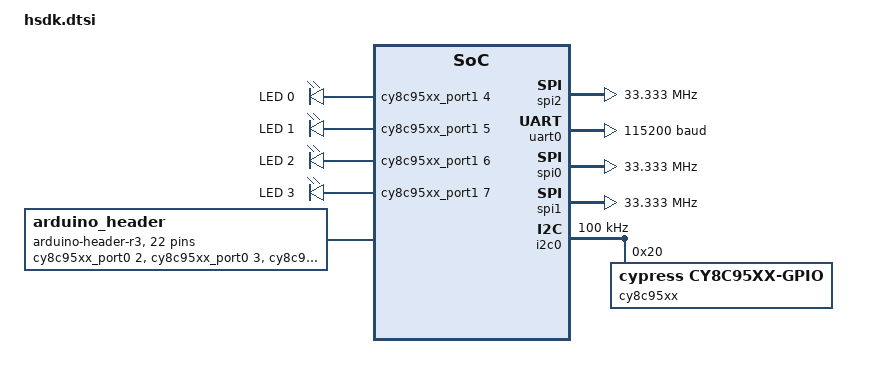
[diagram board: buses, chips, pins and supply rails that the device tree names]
/*
 * Copyright (c) 2019, Synopsys, Inc. All rights reserved.
 *
 * SPDX-License-Identifier: Apache-2.0
 */

/dts-v1/;

#include <synopsys/arc_hsdk.dtsi>
#include <zephyr/dt-bindings/gpio/arduino-header-r3.h>

/ {

	aliases {
		uart-0 = &uart0;
		led0 = &led0;
		led1 = &led1;
		led2 = &led2;
		led3 = &led3;
	};

	leds {
		compatible = "gpio-leds";
		led0: led_0 {
			gpios = <&cy8c95xx_port1 4 GPIO_ACTIVE_HIGH>;
			label = "LED 0";
		};
		led1: led_1 {
			gpios = <&cy8c95xx_port1 5 GPIO_ACTIVE_HIGH>;
			label = "LED 1";
		};
		led2: led_2 {
			gpios = <&cy8c95xx_port1 6 GPIO_ACTIVE_HIGH>;
			label = "LED 2";
		};
		led3: led_3 {
			gpios = <&cy8c95xx_port1 7 GPIO_ACTIVE_HIGH>;
			label = "LED 3";
		};
	};

	chosen {
		zephyr,sram = &ddr0;
		zephyr,console = &uart0;
		zephyr,shell-uart = &uart0;
	};

	arduino_header: connector {
		compatible = "arduino-header-r3";
		#gpio-cells = <2>;
		gpio-map-mask = <0xffffffff 0xffffffc0>;
		gpio-map-pass-thru = <0 0x3f>;
		gpio-map = <ARDUINO_HEADER_R3_A0 0 &cy8c95xx_port0 2 0>,
			   <ARDUINO_HEADER_R3_A1 0 &cy8c95xx_port0 3 0>,
			   <ARDUINO_HEADER_R3_A2 0 &cy8c95xx_port0 4 0>,
			   <ARDUINO_HEADER_R3_A3 0 &cy8c95xx_port0 5 0>,
			   <ARDUINO_HEADER_R3_A4 0 &gpio0 18 0>,
			   <ARDUINO_HEADER_R3_A5 0 &gpio0 19 0>,
			   <ARDUINO_HEADER_R3_D0 0 &gpio0 23 0>,
			   <ARDUINO_HEADER_R3_D1 0 &gpio0 22 0>,
			   <ARDUINO_HEADER_R3_D2 0 &gpio0 16 0>,
			   <ARDUINO_HEADER_R3_D3 0 &gpio0 17 0>,
			   <ARDUINO_HEADER_R3_D4 0 &gpio0 11 0>,
			   <ARDUINO_HEADER_R3_D5 0 &gpio0 9 0>,
			   <ARDUINO_HEADER_R3_D6 0 &gpio0 21 0>,
			   <ARDUINO_HEADER_R3_D7 0 &gpio0 20 0>,
			   <ARDUINO_HEADER_R3_D8 0 &gpio0 10 0>,
			   <ARDUINO_HEADER_R3_D9 0 &gpio0 8 0>,
			   <ARDUINO_HEADER_R3_D10 0 &gpio0 12 0>,
			   <ARDUINO_HEADER_R3_D11 0 &gpio0 13 0>,
			   <ARDUINO_HEADER_R3_D12 0 &gpio0 14 0>,
			   <ARDUINO_HEADER_R3_D13 0 &gpio0 15 0>,
			   <ARDUINO_HEADER_R3_D14 0 &gpio0 18 0>,
			   <ARDUINO_HEADER_R3_D15 0 &gpio0 19 0>;
	};
};

arduino_spi: &spi2 {};

&uart0 {
	status = "okay";
	current-speed = <115200>;
};

&gpio0 {
	status = "okay";
	interrupts = <56 1>;
};

&creg_gpio {
	status = "okay";
};

&spi0 {
	status = "okay";
	clock-frequency = <33333333>;
	cs-gpios = <&creg_gpio 0 GPIO_ACTIVE_HIGH>,
			   <&creg_gpio 1 GPIO_ACTIVE_HIGH>,
			   <&creg_gpio 2 GPIO_ACTIVE_HIGH>,
			   <&creg_gpio 3 GPIO_ACTIVE_HIGH>;
};

&spi1 {
	status = "okay";
	clock-frequency = <33333333>;
	cs-gpios = <&creg_gpio 4 GPIO_ACTIVE_HIGH>,
			   <&creg_gpio 5 GPIO_ACTIVE_HIGH>,
			   <&creg_gpio 6 GPIO_ACTIVE_HIGH>;
};

&spi2 {
	status = "okay";
	clock-frequency = <33333333>;
	cs-gpios = <&creg_gpio 8 GPIO_ACTIVE_HIGH>,
			   <&creg_gpio 9 GPIO_ACTIVE_HIGH>,
			   <&creg_gpio 10 GPIO_ACTIVE_HIGH>;
};

&i2c0 {
	status = "okay";
	clock-frequency = <I2C_BITRATE_STANDARD>;

	cy8c95xx: cy8c95xx@20 {
		compatible = "cypress,cy8c95xx-gpio";
		reg = <0x20>;
		ranges;
		#address-cells = <1>;
		#size-cells = <0>;

		cy8c95xx_port0: cy8c95xx_port@0 {
			compatible = "cypress,cy8c95xx-gpio-port";
			reg = <0x00>;
			gpio-controller;
			#gpio-cells = <2>;
			ngpios = <8>;
			status = "okay";
		};

		cy8c95xx_port1: cy8c95xx_port@1 {
			compatible = "cypress,cy8c95xx-gpio-port";
			reg = <0x01>;
			gpio-controller;
			#gpio-cells = <2>;
			ngpios = <8>;
			status = "okay";
		};
	};
};
